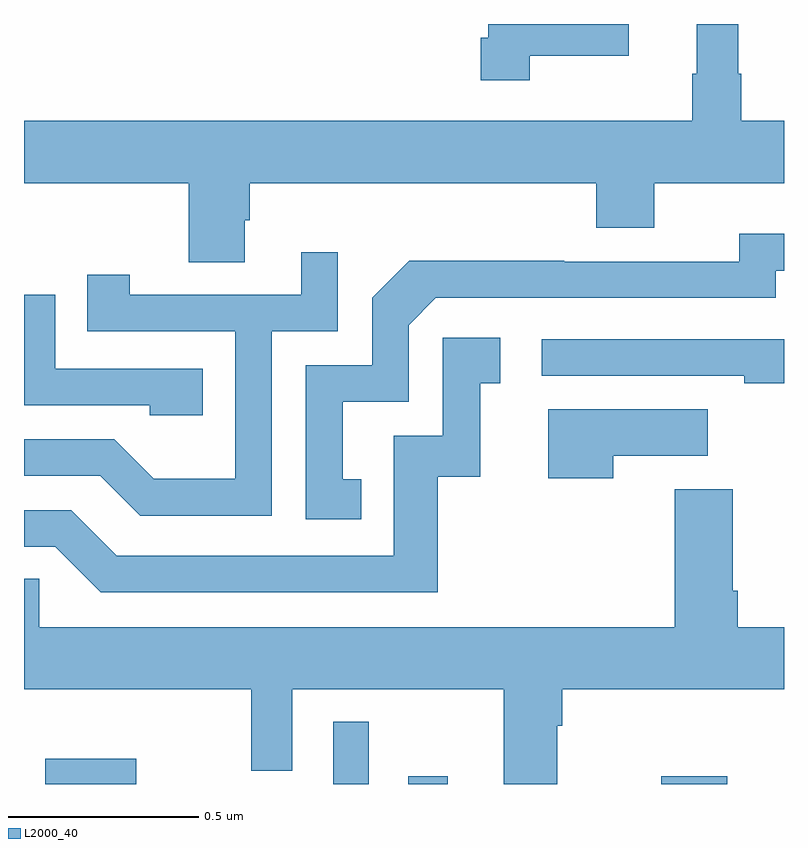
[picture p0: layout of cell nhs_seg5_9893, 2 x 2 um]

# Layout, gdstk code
import gdstk
lib = gdstk.Library(unit=1e-6, precision=1e-09)
def R(c, l, rs):  # rectangles x0, y0, x1, y1
    for r in rs: c.add(gdstk.rectangle(r[:2], r[2:], *l))
def P(c, l, *ps):  # polygons
    for p in ps: c.add(gdstk.Polygon(p, *l))
L2000_40 = (2000, 40)

nhs_seg5_9893 = lib.new_cell('nhs_seg5_9893')
R(nhs_seg5_9893, L2000_40, [(239.056,901.799,239.296,901.865), (239.814,901.799,239.907,901.963), (240.011,901.799,240.115,901.819), (240.677,901.799,240.85,901.819)])
P(nhs_seg5_9893, L2000_40, [(239.581,903.282),(239.594,903.282),(239.594,903.38),(240.506,903.38),(240.506,903.263),(240.658,903.263),(240.658,903.38),(241,903.38),(241,903.544),(240.887,903.544),(240.887,903.668),(240.88,903.668),(240.88,903.799),(240.77,903.799),(240.77,903.668),(240.759,903.668),(240.759,903.544),(239,903.544),(239,903.38),(239.434,903.38),(239.434,903.172),(239.581,903.172)],
  [(240.331,903.716),(240.592,903.716),(240.592,903.799),(240.222,903.799),(240.222,903.763),(240.202,903.763),(240.202,903.651),(240.331,903.651)],
  [(239.888,902.601),(239.839,902.601),(239.839,902.805),(240.012,902.805),(240.012,903.006),(240.084,903.078),(240.978,903.078),(240.978,903.15),(241,903.15),(241,903.247),(240.882,903.247),(240.882,903.174),(240.422,903.174),(240.422,903.176),(240.014,903.176),(239.916,903.078),(239.916,902.901),(239.742,902.901),(239.742,902.496),(239.888,902.496)],
  [(239.652,902.991),(239.826,902.991),(239.826,903.199),(239.729,903.199),(239.729,903.087),(239.278,903.087),(239.278,903.139),(239.167,903.139),(239.167,902.991),(239.556,902.991),(239.556,902.602),(239.342,902.602),(239.238,902.706),(239,902.706),(239,902.61),(239.201,902.61),(239.306,902.505),(239.652,902.505)],
  [(239.471,902.892),(239.082,902.892),(239.082,903.087),(239,903.087),(239,902.796),(239.331,902.796),(239.331,902.769),(239.471,902.769)],
  [(240.089,902.607),(240.2,902.607),(240.2,902.853),(240.253,902.853),(240.253,902.974),(240.102,902.974),(240.102,902.715),(239.973,902.715),(239.973,902.4),(239.244,902.4),(239.124,902.52),(239,902.52),(239,902.424),(239.082,902.424),(239.202,902.304),(240.089,902.304)],
  [(241,902.97),(240.363,902.97),(240.363,902.874),(240.895,902.874),(240.895,902.854),(241,902.854)],
  [(240.551,902.663),(240.799,902.663),(240.799,902.785),(240.38,902.785),(240.38,902.604),(240.551,902.604)],
  [(240.403,901.952),(240.416,901.952),(240.416,902.048),(241,902.048),(241,902.212),(240.878,902.212),(240.878,902.308),(240.865,902.308),(240.865,902.575),(240.713,902.575),(240.713,902.212),(239.04,902.212),(239.04,902.339),(239,902.339),(239,902.048),(239.598,902.048),(239.598,901.834),(239.706,901.834),(239.706,902.048),(240.263,902.048),(240.263,901.799),(240.403,901.799)])

lib.write_gds('nhs_seg5_9893.gds')
